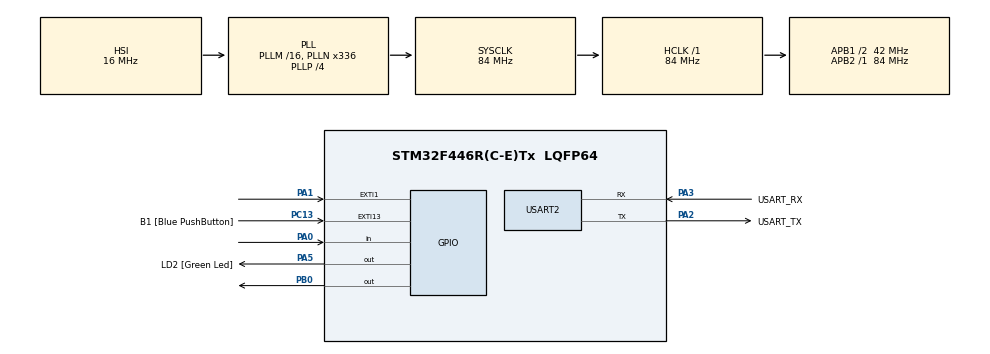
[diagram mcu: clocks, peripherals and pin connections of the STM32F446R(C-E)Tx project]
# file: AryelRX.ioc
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Mcu.Family=STM32F4
Mcu.Name=STM32F446R(C-E)Tx
Mcu.Package=LQFP64
NVIC.EXTI1_IRQn=true\:0\:0\:false\:false\:true\:true\:true\:true
NVIC.PriorityGroup=NVIC_PRIORITYGROUP_0
PA0-WKUP.Signal=GPIO_Input
PA1.Signal=GPXTI1
PA13.GPIO_Label=TMS
PA13.Mode=Serial_Wire
PA13.Signal=SYS_JTMS-SWDIO
PA14.GPIO_Label=TCK
PA14.Mode=Serial_Wire
PA14.Signal=SYS_JTCK-SWCLK
PA2.GPIO_Label=USART_TX
PA2.Mode=Asynchronous
PA2.Signal=USART2_TX
PA3.GPIO_Label=USART_RX
PA3.Mode=Asynchronous
PA3.Signal=USART2_RX
PA5.GPIO_Label=LD2 [Green Led]
PA5.Signal=GPIO_Output
PB0.Signal=GPIO_Output
PB3.GPIO_Label=SWO
PB3.Signal=SYS_JTDO-SWO
PC13.GPIO_Label=B1 [Blue PushButton]
PC13.GPIO_ModeDefaultEXTI=GPIO_MODE_IT_FALLING
PC13.Signal=GPXTI13
PC14-OSC32_IN.Mode=LSE-External-Oscillator
PC14-OSC32_IN.Signal=RCC_OSC32_IN
PC15-OSC32_OUT.Mode=LSE-External-Oscillator
PC15-OSC32_OUT.Signal=RCC_OSC32_OUT
PH0-OSC_IN.Mode=HSE-External-Oscillator
PH0-OSC_IN.Signal=RCC_OSC_IN
PH1-OSC_OUT.Mode=HSE-External-Oscillator
PH1-OSC_OUT.Signal=RCC_OSC_OUT
ProjectManager.HeapSize=0x200
ProjectManager.StackSize=0x400
ProjectManager.TargetToolchain=STM32CubeIDE
RCC.48MHZClocksFreq_Value=84000000
RCC.AHBFreq_Value=84000000
RCC.APB1CLKDivider=RCC_HCLK_DIV2
RCC.APB1Freq_Value=42000000
RCC.APB1TimFreq_Value=84000000
RCC.APB2Freq_Value=84000000
RCC.APB2TimFreq_Value=84000000
RCC.CortexFreq_Value=84000000
RCC.FLatency-AdvancedSettings=FLASH_LATENCY_2
RCC.HCLKFreq_Value=84000000
RCC.HSE_VALUE=8000000
RCC.HSI_VALUE=16000000
RCC.PLLN=336
RCC.PLLP=RCC_PLLP_DIV4
RCC.SYSCLKFreq_VALUE=84000000
RCC.SYSCLKSource=RCC_SYSCLKSOURCE_PLLCLK
RCC.USBFreq_Value=168000000
RCC.VCOOutputFreq_Value=336000000
USART2.VirtualMode=VM_ASYNC
board=NUCLEO-F446RE

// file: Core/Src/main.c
/* USER CODE BEGIN Header */
/**
  ******************************************************************************
  * @file           : main.c
  * @brief          : Main program body
  ******************************************************************************
  * @attention
  *
  * Copyright (c) 2026 STMicroelectronics.
  * All rights reserved.
  *
  * This software is licensed under terms that can be found in the LICENSE file
  * in the root directory of this software component.
  * If no LICENSE file comes with this software, it is provided AS-IS.
  *
  ******************************************************************************
  */
/* USER CODE END Header */
#include "main.h"

/* USER CODE BEGIN Includes */
/*RX*/
#include <stdio.h>
#include <string.h>
/* USER CODE END Includes */

UART_HandleTypeDef huart2;

void SystemClock_Config(void);
static void MX_GPIO_Init(void);
static void MX_USART2_UART_Init(void);

/* USER CODE BEGIN 0 */
volatile uint8_t received_byte = 0;
volatile uint8_t bit_count = 0;
volatile uint8_t parity = 0;
volatile uint8_t receiving = 0;

void send_ack(uint8_t ack) {
    HAL_GPIO_WritePin(GPIOB, GPIO_PIN_0, ack);
}
/* USER CODE END 0 */

int main(void)
{

  /* MCU Configuration--------------------------------------------------------*/

  /* Reset of all peripherals, Initializes the Flash interface and the Systick. */
  HAL_Init();

  /* Configure the system clock */
  SystemClock_Config();

  /* Initialize all configured peripherals */
  MX_GPIO_Init();
  MX_USART2_UART_Init();

  /* Infinite loop */
  while (1)
  {

  }
}

void SystemClock_Config(void)
{
  RCC_OscInitTypeDef RCC_OscInitStruct = {0};
  RCC_ClkInitTypeDef RCC_ClkInitStruct = {0};

  /** Configure the main internal regulator output voltage
  */
  __HAL_RCC_PWR_CLK_ENABLE();
  __HAL_PWR_VOLTAGESCALING_CONFIG(PWR_REGULATOR_VOLTAGE_SCALE3);

  /** Initializes the RCC Oscillators according to the specified parameters
  * in the RCC_OscInitTypeDef structure.
  */
  RCC_OscInitStruct.OscillatorType = RCC_OSCILLATORTYPE_HSI;
  RCC_OscInitStruct.HSIState = RCC_HSI_ON;
  RCC_OscInitStruct.HSICalibrationValue = RCC_HSICALIBRATION_DEFAULT;
  RCC_OscInitStruct.PLL.PLLState = RCC_PLL_ON;
  RCC_OscInitStruct.PLL.PLLSource = RCC_PLLSOURCE_HSI;
  RCC_OscInitStruct.PLL.PLLM = 16;
  RCC_OscInitStruct.PLL.PLLN = 336;
  RCC_OscInitStruct.PLL.PLLP = RCC_PLLP_DIV4;
  RCC_OscInitStruct.PLL.PLLQ = 2;
  RCC_OscInitStruct.PLL.PLLR = 2;
  if (HAL_RCC_OscConfig(&RCC_OscInitStruct) != HAL_OK)
  {
    Error_Handler();
  }

  /** Initializes the CPU, AHB and APB buses clocks
  */
  RCC_ClkInitStruct.ClockType = RCC_CLOCKTYPE_HCLK|RCC_CLOCKTYPE_SYSCLK
                              |RCC_CLOCKTYPE_PCLK1|RCC_CLOCKTYPE_PCLK2;
  RCC_ClkInitStruct.SYSCLKSource = RCC_SYSCLKSOURCE_PLLCLK;
  RCC_ClkInitStruct.AHBCLKDivider = RCC_SYSCLK_DIV1;
  RCC_ClkInitStruct.APB1CLKDivider = RCC_HCLK_DIV2;
  RCC_ClkInitStruct.APB2CLKDivider = RCC_HCLK_DIV1;

  if (HAL_RCC_ClockConfig(&RCC_ClkInitStruct, FLASH_LATENCY_2) != HAL_OK)
  {
    Error_Handler();
  }
}

static void MX_USART2_UART_Init(void)
{

  huart2.Instance = USART2;
  huart2.Init.BaudRate = 115200;
  huart2.Init.WordLength = UART_WORDLENGTH_8B;
  huart2.Init.StopBits = UART_STOPBITS_1;
  huart2.Init.Parity = UART_PARITY_NONE;
  huart2.Init.Mode = UART_MODE_TX_RX;
  huart2.Init.HwFlowCtl = UART_HWCONTROL_NONE;
  huart2.Init.OverSampling = UART_OVERSAMPLING_16;
  if (HAL_UART_Init(&huart2) != HAL_OK)
  {
    Error_Handler();
  }

}

static void MX_GPIO_Init(void)
{
  GPIO_InitTypeDef GPIO_InitStruct = {0};

  /* GPIO Ports Clock Enable */
  __HAL_RCC_GPIOC_CLK_ENABLE();
  __HAL_RCC_GPIOH_CLK_ENABLE();
  __HAL_RCC_GPIOA_CLK_ENABLE();
  __HAL_RCC_GPIOB_CLK_ENABLE();

  /*Configure GPIO pin Output Level */
  HAL_GPIO_WritePin(LD2_GPIO_Port, LD2_Pin, GPIO_PIN_RESET);

  /*Configure GPIO pin Output Level */
  HAL_GPIO_WritePin(GPIOB, GPIO_PIN_0, GPIO_PIN_RESET);

  /*Configure GPIO pin : B1_Pin */
  GPIO_InitStruct.Pin = B1_Pin;
  GPIO_InitStruct.Mode = GPIO_MODE_IT_FALLING;
  GPIO_InitStruct.Pull = GPIO_NOPULL;
  HAL_GPIO_Init(B1_GPIO_Port, &GPIO_InitStruct);

  /*Configure GPIO pin : PA0 */
  GPIO_InitStruct.Pin = GPIO_PIN_0;
  GPIO_InitStruct.Mode = GPIO_MODE_INPUT;
  GPIO_InitStruct.Pull = GPIO_NOPULL;
  HAL_GPIO_Init(GPIOA, &GPIO_InitStruct);

  /*Configure GPIO pin : PA1 */
  GPIO_InitStruct.Pin = GPIO_PIN_1;
  GPIO_InitStruct.Mode = GPIO_MODE_IT_RISING;
  GPIO_InitStruct.Pull = GPIO_NOPULL;
  HAL_GPIO_Init(GPIOA, &GPIO_InitStruct);

  /*Configure GPIO pin : LD2_Pin */
  GPIO_InitStruct.Pin = LD2_Pin;
  GPIO_InitStruct.Mode = GPIO_MODE_OUTPUT_PP;
  GPIO_InitStruct.Pull = GPIO_NOPULL;
  GPIO_InitStruct.Speed = GPIO_SPEED_FREQ_LOW;
  HAL_GPIO_Init(LD2_GPIO_Port, &GPIO_InitStruct);

  /*Configure GPIO pin : PB0 */
  GPIO_InitStruct.Pin = GPIO_PIN_0;
  GPIO_InitStruct.Mode = GPIO_MODE_OUTPUT_PP;
  GPIO_InitStruct.Pull = GPIO_NOPULL;
  GPIO_InitStruct.Speed = GPIO_SPEED_FREQ_LOW;
  HAL_GPIO_Init(GPIOB, &GPIO_InitStruct);

  /* EXTI interrupt init*/
  HAL_NVIC_SetPriority(EXTI1_IRQn, 0, 0);
  HAL_NVIC_EnableIRQ(EXTI1_IRQn);

}

/* USER CODE BEGIN 4 */
void HAL_GPIO_EXTI_Callback(uint16_t GPIO_Pin)
{
    if(GPIO_Pin == GPIO_PIN_1)
    {
        uint8_t bit = HAL_GPIO_ReadPin(GPIOA, GPIO_PIN_0);

        if(!receiving) {
            if(bit == 0) { // START
                receiving = 1;
                bit_count = 0;
                received_byte = 0;
                parity = 0;
            }
        }
        else {
            if(bit_count < 8) {
                received_byte |= (bit << bit_count);
                parity ^= bit;
                bit_count++;
            }
            else if(bit_count == 8) {
                // PARIDADE
                if(parity != bit) {
                    send_ack(0); // NACK
                    receiving = 0;
                    return;
                }
                bit_count++;
            }
            else {
                // STOP
                send_ack(1); // ACK

                // UART
                char msg[50];
                sprintf(msg, "Recebido: %d\r\n", received_byte);
                HAL_UART_Transmit(&huart2, (uint8_t*)msg, strlen(msg), HAL_MAX_DELAY);

                // LED
                if(received_byte == 1)
                    HAL_GPIO_WritePin(GPIOA, GPIO_PIN_5, GPIO_PIN_SET);
                else if(received_byte == 0)
                    HAL_GPIO_WritePin(GPIOA, GPIO_PIN_5, GPIO_PIN_RESET);

                receiving = 0;
            }
        }
    }
}
/* USER CODE END 4 */

void Error_Handler(void)
{
  __disable_irq();
  while (1)
  {
  }
}
